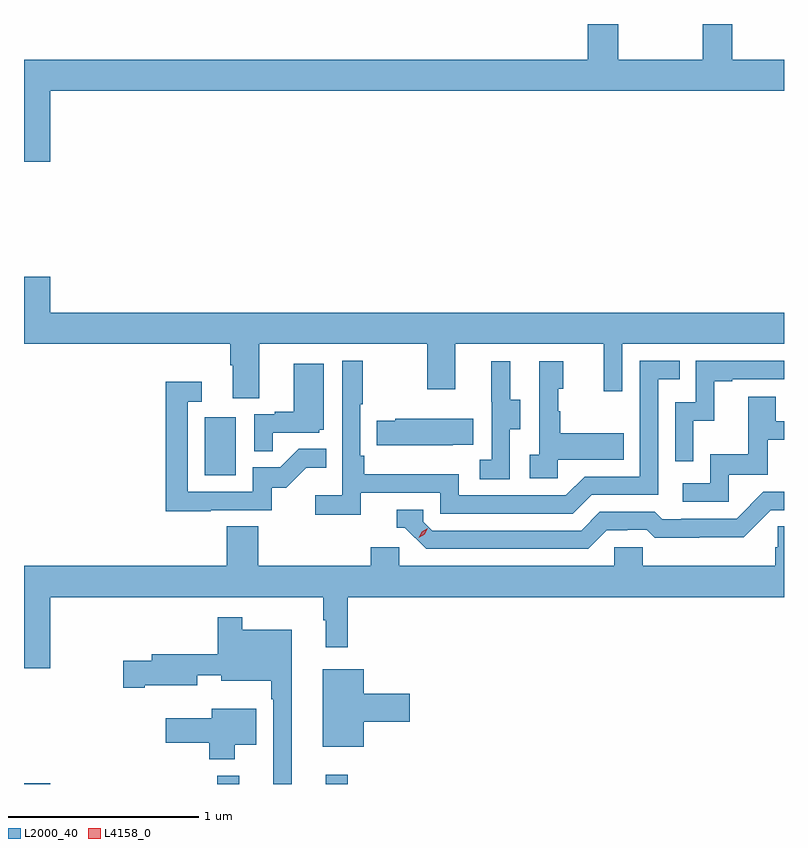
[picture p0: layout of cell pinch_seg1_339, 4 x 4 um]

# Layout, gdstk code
import gdstk
lib = gdstk.Library(unit=1e-6, precision=1e-09)
def R(c, l, rs):  # rectangles x0, y0, x1, y1
    for r in rs: c.add(gdstk.rectangle(r[:2], r[2:], *l))
def P(c, l, *ps):  # polygons
    for p in ps: c.add(gdstk.Polygon(p, *l))
L2000_40 = (2000, 40)
L4158_0 = (4158, 0)

pinch_seg1_339 = lib.new_cell('pinch_seg1_339')
R(pinch_seg1_339, L2000_40, [(968.231,548.084,968.368,548.089), (969.247,548.084,969.365,548.128), (969.818,548.084,969.935,548.134), (969.182,549.708,969.346,550.015)])
P(pinch_seg1_339, L2000_40, [(968.368,551.732),(972.231,551.732),(972.231,551.896),(971.958,551.896),(971.958,552.084),(971.803,552.084),(971.803,551.896),(971.358,551.896),(971.358,552.084),(971.198,552.084),(971.198,551.896),(968.231,551.896),(968.231,551.358),(968.368,551.358)],
  [(969.469,550.4),(970.354,550.4),(970.354,550.161),(970.501,550.161),(970.501,550.4),(971.282,550.4),(971.282,550.152),(971.379,550.152),(971.379,550.4),(972.231,550.4),(972.231,550.564),(968.368,550.564),(968.368,550.753),(968.231,550.753),(968.231,550.4),(969.317,550.4),(969.317,550.288),(969.329,550.288),(969.329,550.114),(969.469,550.114)],
  [(970.004,549.618),(970.422,549.618),(970.422,549.507),(971.119,549.507),(971.218,549.606),(971.568,549.606),(971.568,550.215),(971.681,550.215),(971.681,550.311),(971.472,550.311),(971.472,549.702),(971.181,549.702),(971.082,549.603),(970.518,549.603),(970.518,549.715),(970.022,549.715),(970.022,549.811),(970.002,549.811),(970.002,550.084),(970.015,550.084),(970.015,550.312),(969.906,550.312),(969.906,549.604),(969.765,549.604),(969.765,549.502),(970.004,549.502)],
  [(971.754,549.995),(971.864,549.995),(971.864,550.203),(971.959,550.203),(971.959,550.215),(972.231,550.215),(972.231,550.311),(971.766,550.311),(971.766,550.092),(971.658,550.092),(971.658,549.783),(971.754,549.783)],
  [(971.04,549.791),(971.387,549.791),(971.387,549.931),(971.053,549.931),(971.053,550.046),(971.043,550.046),(971.043,550.164),(971.068,550.164),(971.068,550.309),(970.944,550.309),(970.944,549.818),(970.893,549.818),(970.893,549.693),(971.04,549.693)],
  [(970.788,549.952),(970.843,549.952),(970.843,550.107),(970.789,550.107),(970.789,550.309),(970.691,550.309),(970.691,550.095),(970.692,550.095),(970.692,549.791),(970.629,549.791),(970.629,549.688),(970.788,549.688)],
  [(969.539,549.933),(969.786,549.933),(969.786,549.948),(969.808,549.948),(969.808,550.297),(969.65,550.297),(969.65,550.042),(969.551,550.042),(969.551,550.029),(969.444,550.029),(969.444,549.835),(969.539,549.835)],
  [(969.215,549.525),(969.534,549.525),(969.534,549.642),(969.61,549.642),(969.717,549.749),(969.821,549.749),(969.821,549.848),(969.677,549.848),(969.579,549.75),(969.435,549.75),(969.435,549.621),(969.093,549.621),(969.093,550.095),(969.166,550.095),(969.166,550.201),(968.977,550.201),(968.977,549.52),(969.215,549.52)],
  [(971.94,549.711),(972.145,549.711),(972.145,549.897),(972.231,549.897),(972.231,549.993),(972.187,549.993),(972.187,550.123),(972.043,550.123),(972.043,549.82),(971.844,549.82),(971.844,549.666),(971.697,549.666),(971.697,549.57),(971.94,549.57)],
  [(970.487,549.869),(970.595,549.869),(970.595,550.006),(970.185,550.006),(970.185,549.996),(970.087,549.996),(970.087,549.866),(970.487,549.866)],
  [(971.299,549.42),(971.406,549.42),(971.406,549.423),(971.509,549.423),(971.551,549.381),(971.784,549.381),(971.784,549.383),(972.02,549.383),(972.162,549.525),(972.231,549.525),(972.231,549.621),(972.123,549.621),(971.982,549.48),(971.689,549.48),(971.689,549.477),(971.59,549.477),(971.551,549.516),(971.262,549.516),(971.163,549.417),(970.38,549.417),(970.332,549.465),(970.332,549.528),(970.193,549.528),(970.193,549.432),(970.236,549.432),(970.347,549.321),(971.2,549.321)],
  [(972.231,549.44),(972.199,549.44),(972.199,549.33),(972.185,549.33),(972.185,549.232),(971.487,549.232),(971.487,549.33),(971.337,549.33),(971.337,549.232),(970.206,549.232),(970.206,549.33),(970.055,549.33),(970.055,549.232),(969.464,549.232),(969.464,549.44),(969.299,549.44),(969.299,549.232),(968.231,549.232),(968.231,548.694),(968.368,548.694),(968.368,549.068),(969.807,549.068),(969.807,548.945),(969.818,548.945),(969.818,548.805),(969.935,548.805),(969.935,549.068),(972.231,549.068)],
  [(969.64,548.896),(969.379,548.896),(969.379,548.962),(969.25,548.962),(969.25,548.767),(968.903,548.767),(968.903,548.733),(968.754,548.733),(968.754,548.591),(968.866,548.591),(968.866,548.603),(969.142,548.603),(969.142,548.657),(969.269,548.657),(969.269,548.627),(969.531,548.627),(969.531,548.531),(969.543,548.531),(969.543,548.084),(969.64,548.084)],
  [(970.018,548.411),(970.261,548.411),(970.261,548.558),(970.018,548.558),(970.018,548.689),(969.803,548.689),(969.803,548.279),(970.018,548.279)],
  [(969.34,548.291),(969.454,548.291),(969.454,548.479),(969.218,548.479),(969.218,548.431),(968.976,548.431),(968.976,548.302),(969.206,548.302),(969.206,548.213),(969.34,548.213)])
P(pinch_seg1_339, L4158_0, [(970.309,549.379),(970.309,549.379),(970.325,549.412),(970.356,549.431),(970.356,549.431),(970.356,549.43),(970.34,549.398),(970.309,549.379)])

lib.write_gds('pinch_seg1_339.gds')
